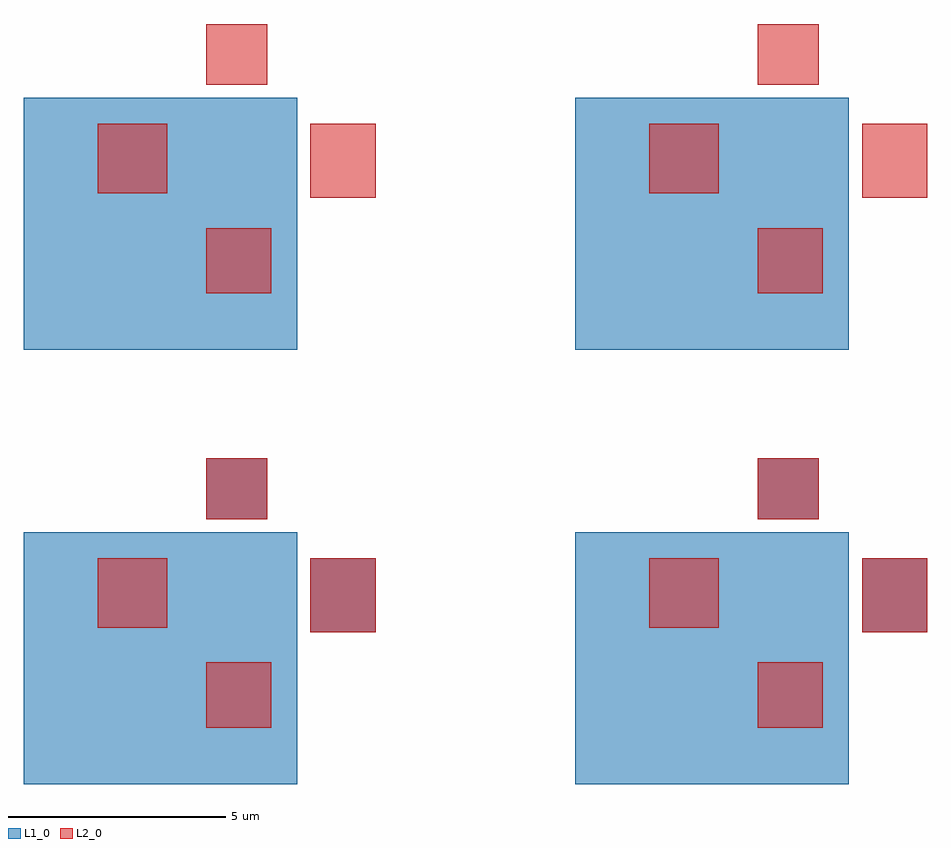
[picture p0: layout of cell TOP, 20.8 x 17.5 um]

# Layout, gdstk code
import gdstk
lib = gdstk.Library(unit=1e-6, precision=1e-09)
def R(c, l, rs):  # rectangles x0, y0, x1, y1
    for r in rs: c.add(gdstk.rectangle(r[:2], r[2:], *l))
L1_0 = (1, 0)
L2_0 = (2, 0)

top = lib.new_cell('TOP')
R(top, L1_0, [(0,0,6.3,5.8), (12.7,0,19,5.8), (3.9,3.3,5.9,5.4), (16.6,3.3,18.6,5.4), (6.6,3.5,8.1,5.2), (19.3,3.5,20.8,5.2), (4.2,6.1,5.6,7.5), (16.9,6.1,18.3,7.5), (0,10,6.3,15.8), (12.7,10,19,15.8), (3.9,13.3,5.9,15.4), (16.6,13.3,18.6,15.4)])
R(top, L2_0, [(4.2,1.3,5.7,2.8), (16.9,1.3,18.4,2.8), (6.6,3.5,8.1,5.2), (19.3,3.5,20.8,5.2), (1.7,3.6,3.3,5.2), (14.4,3.6,16,5.2), (4.2,6.1,5.6,7.5), (16.9,6.1,18.3,7.5), (4.2,11.3,5.7,12.8), (16.9,11.3,18.4,12.8), (6.6,13.5,8.1,15.2), (19.3,13.5,20.8,15.2), (1.7,13.6,3.3,15.2), (14.4,13.6,16,15.2), (4.2,16.1,5.6,17.5), (16.9,16.1,18.3,17.5)])

lib.write_gds('TOP.gds')
